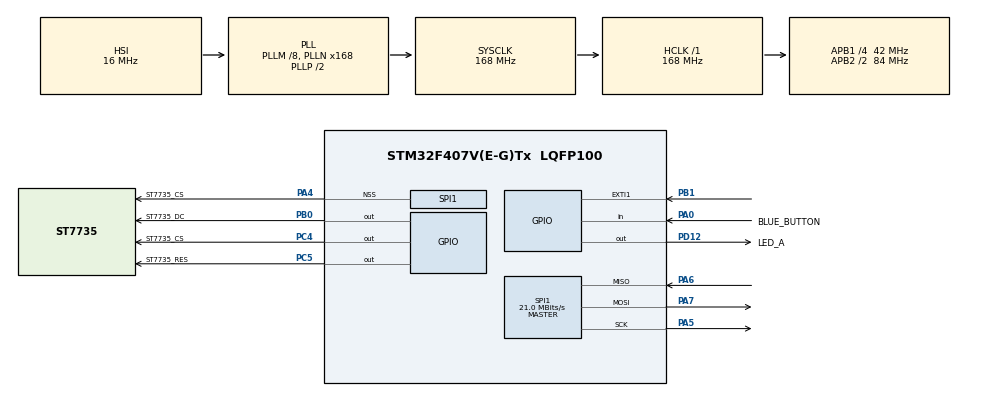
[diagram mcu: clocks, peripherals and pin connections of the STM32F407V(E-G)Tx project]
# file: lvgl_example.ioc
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Dma.Request0=SPI1_TX
Dma.SPI1_TX.0.Direction=DMA_MEMORY_TO_PERIPH
Dma.SPI1_TX.0.FIFOMode=DMA_FIFOMODE_DISABLE
Dma.SPI1_TX.0.Instance=DMA2_Stream3
Dma.SPI1_TX.0.MemDataAlignment=DMA_MDATAALIGN_BYTE
Dma.SPI1_TX.0.MemInc=DMA_MINC_ENABLE
Dma.SPI1_TX.0.Mode=DMA_NORMAL
Dma.SPI1_TX.0.PeriphDataAlignment=DMA_PDATAALIGN_BYTE
Dma.SPI1_TX.0.PeriphInc=DMA_PINC_DISABLE
Dma.SPI1_TX.0.Priority=DMA_PRIORITY_LOW
Mcu.Family=STM32F4
Mcu.Name=STM32F407V(E-G)Tx
Mcu.Package=LQFP100
NVIC.DMA2_Stream3_IRQn=true\:0\:0\:false\:false\:true\:false\:true\:true
NVIC.EXTI1_IRQn=true\:0\:0\:false\:false\:true\:true\:true\:true
NVIC.PriorityGroup=NVIC_PRIORITYGROUP_4
NVIC.SPI1_IRQn=true\:0\:0\:false\:false\:true\:true\:true\:true
PA0-WKUP.GPIO_Label=BLUE_BUTTON
PA0-WKUP.Signal=GPIO_Input
PA4.GPIO_Label=ST7735_CS
PA4.Mode=NSS_Signal_Hard_Output
PA4.Signal=SPI1_NSS
PA5.Mode=Full_Duplex_Master
PA5.Signal=SPI1_SCK
PA6.Mode=Full_Duplex_Master
PA6.Signal=SPI1_MISO
PA7.Mode=Full_Duplex_Master
PA7.Signal=SPI1_MOSI
PB0.GPIO_Label=ST7735_DC
PB0.Signal=GPIO_Output
PB1.Signal=GPXTI1
PB1.Stacked=true
PC4.GPIO_Label=ST7735_CS
PC4.Signal=GPIO_Output
PC5.GPIO_Label=ST7735_RES
PC5.Signal=GPIO_Output
PD12.GPIO_Label=LED_A
PD12.Signal=GPIO_Output
ProjectManager.HeapSize=0x200
ProjectManager.StackSize=0x400
ProjectManager.TargetToolchain=STM32CubeIDE
RCC.48MHZClocksFreq_Value=84000000
RCC.AHBFreq_Value=168000000
RCC.APB1CLKDivider=RCC_HCLK_DIV4
RCC.APB1Freq_Value=42000000
RCC.APB1TimFreq_Value=84000000
RCC.APB2CLKDivider=RCC_HCLK_DIV2
RCC.APB2Freq_Value=84000000
RCC.APB2TimFreq_Value=168000000
RCC.CortexFreq_Value=168000000
RCC.HCLKFreq_Value=168000000
RCC.HSE_VALUE=25000000
RCC.HSI_VALUE=16000000
RCC.LSE_VALUE=32768
RCC.PLLM=8
RCC.PLLN=168
RCC.SYSCLKFreq_VALUE=168000000
RCC.SYSCLKSource=RCC_SYSCLKSOURCE_PLLCLK
RCC.VCOOutputFreq_Value=336000000
SPI1.BaudRatePrescaler=SPI_BAUDRATEPRESCALER_4
SPI1.CalculateBaudRate=21.0 MBits/s
SPI1.DataSize=SPI_DATASIZE_8BIT
SPI1.Direction=SPI_DIRECTION_2LINES
SPI1.FirstBit=SPI_FIRSTBIT_MSB
SPI1.Mode=SPI_MODE_MASTER
SPI1.VirtualNSS=VM_NSSHARD
SPI1.VirtualType=VM_MASTER
board=custom

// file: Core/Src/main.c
/* USER CODE BEGIN Header */
/**
  ******************************************************************************
  * @file           : main.c
  * @brief          : Main program body
  ******************************************************************************
  * @attention
  *
  * Copyright (c) 2025 STMicroelectronics.
  * All rights reserved.
  *
  * This software is licensed under terms that can be found in the LICENSE file
  * in the root directory of this software component.
  * If no LICENSE file comes with this software, it is provided AS-IS.
  *
  ******************************************************************************
  */
/* USER CODE END Header */
#include "main.h"

/* USER CODE BEGIN Includes */
#include "lvgl.h"
#include "st7735.h"
#include "gui_simple.h"

/* USER CODE END Includes */

/* USER CODE BEGIN PTD */
void my_flush_cb(lv_display_t * display, const lv_area_t * area, uint8_t * px_map);
void my_flush_cb_with_DMA(lv_display_t * display, const lv_area_t * area, uint8_t * px_map);
/* USER CODE END PTD */

SPI_HandleTypeDef hspi1;
DMA_HandleTypeDef hdma_spi1_tx;

void SystemClock_Config(void);
static void MX_GPIO_Init(void);
static void MX_DMA_Init(void);
static void MX_SPI1_Init(void);

/* USER CODE BEGIN 0 */

void lcd_init(){
	 ST7735_Init();
}

lv_display_t* display1;
/* USER CODE END 0 */

int main(void)
{

  /* MCU Configuration--------------------------------------------------------*/

  /* Reset of all peripherals, Initializes the Flash interface and the Systick. */
  HAL_Init();

  /* Configure the system clock */
  SystemClock_Config();

  /* Initialize all configured peripherals */
  MX_GPIO_Init();
  MX_DMA_Init();
  MX_SPI1_Init();
  /* USER CODE BEGIN 2 */
  lcd_init();
  //HAL_Delay(100000);
  /* USER CODE END 2 */

  /* Infinite loop */
  /* USER CODE BEGIN WHILE */
 #define BYTES_PER_PIXEL (LV_COLOR_FORMAT_GET_SIZE(LV_COLOR_FORMAT_RGB565)) /* will be 2 for RGB565 */
 #define BUFF_SIZE (128 * 10 * 2)
 uint8_t buf_1[BUFF_SIZE];
 uint8_t buf_2[BUFF_SIZE];
  lv_init();
  lv_tick_set_cb(HAL_GetTick);
  display1 = lv_display_create(128,128);
  lv_display_set_buffers(display1, buf_1, buf_2, sizeof(buf_1), LV_DISPLAY_RENDER_MODE_PARTIAL);
 lv_display_set_flush_cb(display1, my_flush_cb_with_DMA);
 //lv_example_bar_6();
 create_ui();
  while (1)
  {
	  uint32_t time_till_next = lv_timer_handler();
	  HAL_Delay(time_till_next);

    /* USER CODE END WHILE */

  }
}

void SystemClock_Config(void)
{
  RCC_OscInitTypeDef RCC_OscInitStruct = {0};
  RCC_ClkInitTypeDef RCC_ClkInitStruct = {0};

  /** Configure the main internal regulator output voltage
  */
  __HAL_RCC_PWR_CLK_ENABLE();
  __HAL_PWR_VOLTAGESCALING_CONFIG(PWR_REGULATOR_VOLTAGE_SCALE1);

  /** Initializes the RCC Oscillators according to the specified parameters
  * in the RCC_OscInitTypeDef structure.
  */
  RCC_OscInitStruct.OscillatorType = RCC_OSCILLATORTYPE_HSI;
  RCC_OscInitStruct.HSIState = RCC_HSI_ON;
  RCC_OscInitStruct.HSICalibrationValue = RCC_HSICALIBRATION_DEFAULT;
  RCC_OscInitStruct.PLL.PLLState = RCC_PLL_ON;
  RCC_OscInitStruct.PLL.PLLSource = RCC_PLLSOURCE_HSI;
  RCC_OscInitStruct.PLL.PLLM = 8;
  RCC_OscInitStruct.PLL.PLLN = 168;
  RCC_OscInitStruct.PLL.PLLP = RCC_PLLP_DIV2;
  RCC_OscInitStruct.PLL.PLLQ = 4;
  if (HAL_RCC_OscConfig(&RCC_OscInitStruct) != HAL_OK)
  {
    Error_Handler();
  }

  /** Initializes the CPU, AHB and APB buses clocks
  */
  RCC_ClkInitStruct.ClockType = RCC_CLOCKTYPE_HCLK|RCC_CLOCKTYPE_SYSCLK
                              |RCC_CLOCKTYPE_PCLK1|RCC_CLOCKTYPE_PCLK2;
  RCC_ClkInitStruct.SYSCLKSource = RCC_SYSCLKSOURCE_PLLCLK;
  RCC_ClkInitStruct.AHBCLKDivider = RCC_SYSCLK_DIV1;
  RCC_ClkInitStruct.APB1CLKDivider = RCC_HCLK_DIV4;
  RCC_ClkInitStruct.APB2CLKDivider = RCC_HCLK_DIV2;

  if (HAL_RCC_ClockConfig(&RCC_ClkInitStruct, FLASH_LATENCY_5) != HAL_OK)
  {
    Error_Handler();
  }
}

static void MX_SPI1_Init(void)
{

  /* SPI1 parameter configuration*/
  hspi1.Instance = SPI1;
  hspi1.Init.Mode = SPI_MODE_MASTER;
  hspi1.Init.Direction = SPI_DIRECTION_2LINES;
  hspi1.Init.DataSize = SPI_DATASIZE_8BIT;
  hspi1.Init.CLKPolarity = SPI_POLARITY_LOW;
  hspi1.Init.CLKPhase = SPI_PHASE_1EDGE;
  hspi1.Init.NSS = SPI_NSS_HARD_OUTPUT;
  hspi1.Init.BaudRatePrescaler = SPI_BAUDRATEPRESCALER_4;
  hspi1.Init.FirstBit = SPI_FIRSTBIT_MSB;
  hspi1.Init.TIMode = SPI_TIMODE_DISABLE;
  hspi1.Init.CRCCalculation = SPI_CRCCALCULATION_DISABLE;
  hspi1.Init.CRCPolynomial = 10;
  if (HAL_SPI_Init(&hspi1) != HAL_OK)
  {
    Error_Handler();
  }

}

static void MX_DMA_Init(void)
{

  /* DMA controller clock enable */
  __HAL_RCC_DMA2_CLK_ENABLE();

  /* DMA interrupt init */
  /* DMA2_Stream3_IRQn interrupt configuration */
  HAL_NVIC_SetPriority(DMA2_Stream3_IRQn, 0, 0);
  HAL_NVIC_EnableIRQ(DMA2_Stream3_IRQn);

}

static void MX_GPIO_Init(void)
{
  GPIO_InitTypeDef GPIO_InitStruct = {0};

  /* GPIO Ports Clock Enable */
  __HAL_RCC_GPIOA_CLK_ENABLE();
  __HAL_RCC_GPIOC_CLK_ENABLE();
  __HAL_RCC_GPIOB_CLK_ENABLE();
  __HAL_RCC_GPIOD_CLK_ENABLE();

  /*Configure GPIO pin Output Level */
  HAL_GPIO_WritePin(GPIOC, ST7735_CSC4_Pin|ST7735_RES_Pin, GPIO_PIN_RESET);

  /*Configure GPIO pin Output Level */
  HAL_GPIO_WritePin(ST7735_DC_GPIO_Port, ST7735_DC_Pin, GPIO_PIN_RESET);

  /*Configure GPIO pin Output Level */
  HAL_GPIO_WritePin(LED_A_GPIO_Port, LED_A_Pin, GPIO_PIN_RESET);

  /*Configure GPIO pin : BLUE_BUTTON_Pin */
  GPIO_InitStruct.Pin = BLUE_BUTTON_Pin;
  GPIO_InitStruct.Mode = GPIO_MODE_INPUT;
  GPIO_InitStruct.Pull = GPIO_NOPULL;
  HAL_GPIO_Init(BLUE_BUTTON_GPIO_Port, &GPIO_InitStruct);

  /*Configure GPIO pins : ST7735_CSC4_Pin ST7735_RES_Pin */
  GPIO_InitStruct.Pin = ST7735_CSC4_Pin|ST7735_RES_Pin;
  GPIO_InitStruct.Mode = GPIO_MODE_OUTPUT_PP;
  GPIO_InitStruct.Pull = GPIO_NOPULL;
  GPIO_InitStruct.Speed = GPIO_SPEED_FREQ_LOW;
  HAL_GPIO_Init(GPIOC, &GPIO_InitStruct);

  /*Configure GPIO pin : ST7735_DC_Pin */
  GPIO_InitStruct.Pin = ST7735_DC_Pin;
  GPIO_InitStruct.Mode = GPIO_MODE_OUTPUT_PP;
  GPIO_InitStruct.Pull = GPIO_NOPULL;
  GPIO_InitStruct.Speed = GPIO_SPEED_FREQ_LOW;
  HAL_GPIO_Init(ST7735_DC_GPIO_Port, &GPIO_InitStruct);

  /*Configure GPIO pin : PB1 */
  GPIO_InitStruct.Pin = GPIO_PIN_1;
  GPIO_InitStruct.Mode = GPIO_MODE_IT_RISING;
  GPIO_InitStruct.Pull = GPIO_NOPULL;
  HAL_GPIO_Init(GPIOB, &GPIO_InitStruct);

  /*Configure GPIO pin : LED_A_Pin */
  GPIO_InitStruct.Pin = LED_A_Pin;
  GPIO_InitStruct.Mode = GPIO_MODE_OUTPUT_PP;
  GPIO_InitStruct.Pull = GPIO_NOPULL;
  GPIO_InitStruct.Speed = GPIO_SPEED_FREQ_LOW;
  HAL_GPIO_Init(LED_A_GPIO_Port, &GPIO_InitStruct);

  /* EXTI interrupt init*/
  HAL_NVIC_SetPriority(EXTI1_IRQn, 0, 0);
  HAL_NVIC_EnableIRQ(EXTI1_IRQn);

}

/* USER CODE BEGIN 4 */
void my_flush_cb(lv_display_t * display, const lv_area_t * area, uint8_t * px_map)
{
    /* The most simple case (also the slowest) to send all rendered pixels to the
     * screen one-by-one.  `put_px` is just an example.  It needs to be implemented by you. */
    uint16_t * buf16 = (uint16_t *)px_map; /* Let's say it's a 16 bit (RGB565) display */
    int32_t x, y;
    for(y = area->y1; y <= area->y2; y++) {
        for(x = area->x1; x <= area->x2; x++) {
            //put_px(x, y, *buf16);
        	ST7735_DrawPixel(x,y,*buf16);
            buf16++;
        }
    }

    /* IMPORTANT!!!
     * Inform LVGL that flushing is complete so buffer can be modified again. */
    lv_display_flush_ready(display);
}

void my_flush_cb_with_DMA(lv_display_t * display, const lv_area_t * area, uint8_t * px_map)
{
    /* Asegúrate de que los datos de color estén en el formato correcto */
    // Si el formato de color está invertido (Little Endian -> Big Endian o viceversa),
    // necesitamos invertir los bytes de cada píxel.

    uint16_t *buf16 = (uint16_t *)px_map;  // Convertir el buffer a 16 bits para facilitar el acceso a cada píxel.

    uint32_t pixel_count = (area->y2 - area->y1 + 1) * (area->x2 - area->x1 + 1);

    // Ajuste de colores invertidos si es necesario
    for (uint32_t i = 0; i < pixel_count; i++) {
        uint16_t color = buf16[i];
        // Invertir el formato de color si es necesario (RGB565)
        // Esto intercambia los bytes alto y bajo (Little Endian -> Big Endian)
        uint16_t inverted_color = ((color & 0xFF00) >> 8) | ((color & 0x00FF) << 8);
        buf16[i] = inverted_color;  // Actualizar el valor del píxel con el color invertido
    }

    // Establecer la ventana de direcciones en la pantalla
    ST7735_SetAddressWindow(area->x1, area->y1, area->x2, area->y2);

    // Activar la línea de datos (DC) para indicar que vamos a enviar datos y no comandos.
    HAL_GPIO_WritePin(ST7735_DC_GPIO_Port, ST7735_DC_Pin, GPIO_PIN_SET);

    // Usar DMA para la transmisión de datos
    HAL_SPI_Transmit_DMA(&hspi1, (uint8_t *)buf16, pixel_count * 2);  // 2 bytes por píxel

    // Esperar la finalización del envío de datos
    // NOTA: Aquí debes esperar a que la transferencia DMA haya terminado,
    // por ejemplo, usando una interrupción o una bandera de "completado".

    // Informar a LVGL que el flush se ha completado y que puede modificar el buffer (Se hace en interrupcion de tx spi complete
 //   lv_display_flush_ready(display);
}

void HAL_SPI_TxCpltCallback(SPI_HandleTypeDef *hspi){
    HAL_GPIO_WritePin(ST7735_DC_GPIO_Port, ST7735_DC_Pin, GPIO_PIN_RESET);
    lv_display_flush_ready(display1);
}

/* USER CODE END 4 */

void Error_Handler(void)
{
  __disable_irq();
  while (1)
  {
  }
}
